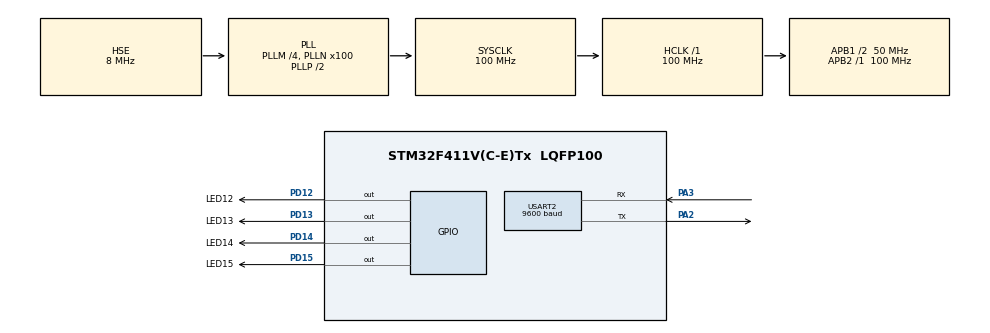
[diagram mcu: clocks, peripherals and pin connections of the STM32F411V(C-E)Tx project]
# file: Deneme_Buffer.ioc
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Mcu.Family=STM32F4
Mcu.Name=STM32F411V(C-E)Tx
Mcu.Package=LQFP100
NVIC.PriorityGroup=NVIC_PRIORITYGROUP_0
PA2.Mode=Asynchronous
PA2.Signal=USART2_TX
PA3.Mode=Asynchronous
PA3.Signal=USART2_RX
PD12.GPIO_Label=LED12
PD12.Signal=GPIO_Output
PD13.GPIO_Label=LED13
PD13.Signal=GPIO_Output
PD14.GPIO_Label=LED14
PD14.Signal=GPIO_Output
PD15.GPIO_Label=LED15
PD15.Signal=GPIO_Output
PH0\ -\ OSC_IN.Mode=HSE-External-Oscillator
PH0\ -\ OSC_IN.Signal=RCC_OSC_IN
PH1\ -\ OSC_OUT.Mode=HSE-External-Oscillator
PH1\ -\ OSC_OUT.Signal=RCC_OSC_OUT
ProjectManager.HeapSize=0x200
ProjectManager.StackSize=0x400
ProjectManager.TargetToolchain=STM32CubeIDE
RCC.48MHZClocksFreq_Value=25000000
RCC.AHBFreq_Value=100000000
RCC.APB1CLKDivider=RCC_HCLK_DIV2
RCC.APB1Freq_Value=50000000
RCC.APB1TimFreq_Value=100000000
RCC.APB2Freq_Value=100000000
RCC.APB2TimFreq_Value=100000000
RCC.CortexFreq_Value=100000000
RCC.HCLKFreq_Value=100000000
RCC.HSE_VALUE=8000000
RCC.HSI_VALUE=16000000
RCC.LSE_VALUE=32768
RCC.PLLI2SM=5
RCC.PLLI2SN=200
RCC.PLLM=4
RCC.PLLN=100
RCC.PLLQ=8
RCC.PLLSourceVirtual=RCC_PLLSOURCE_HSE
RCC.SYSCLKFreq_VALUE=100000000
RCC.SYSCLKSource=RCC_SYSCLKSOURCE_PLLCLK
RCC.VCOOutputFreq_Value=200000000
USART2.BaudRate=9600
USART2.VirtualMode=VM_ASYNC
board=STM32F411E-DISCO

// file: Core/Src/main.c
/* USER CODE BEGIN Header */
/**
  ******************************************************************************
  * @file           : main.c
  * @brief          : Main program body
  ******************************************************************************
  * @attention
  *
  * Copyright (c) 2024 STMicroelectronics.
  * All rights reserved.
  *
  * This software is licensed under terms that can be found in the LICENSE file
  * in the root directory of this software component.
  * If no LICENSE file comes with this software, it is provided AS-IS.
  *
  ******************************************************************************
  */

#include "stm32f4xx_hal.h"

/* USER CODE END Header */
#include "main.h"

UART_HandleTypeDef huart2;

/* USER CODE BEGIN PV */

#define RxBufferSize 10
uint16_t RxBuffer[RxBufferSize];
uint32_t data_Rx = 0;
uint32_t rx_data = 0;
uint32_t temp_data = 0;
uint8_t buffer_size = 0;

#define BUFFER_SIZE 256
typedef struct UART_Buffer_Type{
	uint32_t buffer[BUFFER_SIZE];
	uint32_t head_pointer;
	uint32_t tail_pointer;
}UART_Buffer_t;

volatile UART_Buffer_t UART_BufferRX;
volatile UART_Buffer_t UART_BufferTX;

uint32_t deneme_Tx[10];
uint8_t RXNE_value = 0;

/* USER CODE END PV */

void SystemClock_Config(void);
static void MX_GPIO_Init(void);
static void MX_USART2_UART_Init(void);

int main(void)
{

  /* MCU Configuration--------------------------------------------------------*/

  /* Reset of all peripherals, Initializes the Flash interface and the Systick. */
  HAL_Init();

  /* Configure the system clock */
  SystemClock_Config();

  /* Initialize all configured peripherals */
  MX_GPIO_Init();
  MX_USART2_UART_Init();
  /* USER CODE BEGIN 2 */

  //USART2->CR1 |= USART_CR1_RXNEIE;

    //SET_BIT(USART2->CR1, USART_CR1_TXEIE);

  /* 4- Enable UART Receive Data Register Not Empty */
   SET_BIT(USART2->CR1, USART_CR1_RXNEIE);

   /* 5 - Enable UART Interrupt in NVIC */

	HAL_NVIC_SetPriority(USART2_IRQn, 15, 15);
	HAL_NVIC_EnableIRQ(USART2_IRQn);

	/* USER CODE END 2 */

	/* Infinite loop */
	/* USER CODE BEGIN WHILE */
	while (1) {

		HAL_GPIO_TogglePin(LED12_GPIO_Port, LED12_Pin);
		HAL_Delay(1000);

		/* USER CODE END WHILE */

		/* USER CODE BEGIN 3 */
		//deneme_Tx = USART2->DR;
		/*RXNE_value = USART2->SR & USART_SR_RXNE;
		 if (RXNE_value == 32) {
		 HAL_GPIO_TogglePin(LED13_GPIO_Port, LED13_Pin);
		 time1();
		 }*/
		while (USART2->SR & USART_SR_RXNE) {
			HAL_GPIO_TogglePin(LED13_GPIO_Port, LED13_Pin);
			time1();
		}
		//HAL_GPIO_TogglePin(LED13_GPIO_Port,LED13_Pin);
		/*HAL_GPIO_WritePin(LED15_GPIO_Port, LED15_Pin, GPIO_PIN_SET);
		 HAL_Delay(500);
		 HAL_GPIO_WritePin(LED15_GPIO_Port, LED15_Pin, GPIO_PIN_RESET);
		 HAL_Delay(500);*/
		// for(uint16_t i=0; i<50; i++){
		//RxBuffer[i]='A';
		// }
		//data_Rx = USART2->DR;
		 //HAL_Delay(100);
		/*RXNE_value = USART2->SR & USART_SR_RXNE;
		if (RXNE_value == 32) {
			HAL_GPIO_WritePin(LED15_GPIO_Port, LED15_Pin, GPIO_PIN_RESET);
			//HAL_GPIO_WritePin(LED14_GPIO_Port, LED14_Pin, GPIO_PIN_SET);
			//deneme_Tx = USART2->DR;
			//HAL_Delay(100);
			while(USART2->SR & USART_SR_RXNE){
				HAL_GPIO_WritePin(LED13_GPIO_Port,LED13_Pin, GPIO_PIN_SET);

				//USART2->DR = 'K';
				//HAL_Delay(100);
				//deneme_Tx = USART2->DR;

				//USART2->SR &=~(USART_SR_RXNE);

				//USART2->CR1 |= USART_CR1_RXNEIE;

			}

			//HAL_GPIO_WritePin(LED12_GPIO_Port,LED12_Pin, GPIO_PIN_SET);

			//deneme_Tx = USART2->DR;
		} else if (RXNE_value == 0) {
			HAL_GPIO_WritePin(LED15_GPIO_Port, LED15_Pin, GPIO_PIN_SET);
			//HAL_GPIO_WritePin(LED12_GPIO_Port,LED12_Pin, GPIO_PIN_RESET);
			//HAL_GPIO_WritePin(LED13_GPIO_Port,LED13_Pin, GPIO_PIN_RESET);
			//HAL_GPIO_WritePin(LED14_GPIO_Port, LED14_Pin, GPIO_PIN_RESET);
			//HAL_Delay(100);
		}*/
	}
  /* USER CODE END 3 */
}

void SystemClock_Config(void)
{
  RCC_OscInitTypeDef RCC_OscInitStruct = {0};
  RCC_ClkInitTypeDef RCC_ClkInitStruct = {0};

  /** Configure the main internal regulator output voltage
  */
  __HAL_RCC_PWR_CLK_ENABLE();
  __HAL_PWR_VOLTAGESCALING_CONFIG(PWR_REGULATOR_VOLTAGE_SCALE1);

  /** Initializes the RCC Oscillators according to the specified parameters
  * in the RCC_OscInitTypeDef structure.
  */
  RCC_OscInitStruct.OscillatorType = RCC_OSCILLATORTYPE_HSE;
  RCC_OscInitStruct.HSEState = RCC_HSE_ON;
  RCC_OscInitStruct.PLL.PLLState = RCC_PLL_ON;
  RCC_OscInitStruct.PLL.PLLSource = RCC_PLLSOURCE_HSE;
  RCC_OscInitStruct.PLL.PLLM = 4;
  RCC_OscInitStruct.PLL.PLLN = 100;
  RCC_OscInitStruct.PLL.PLLP = RCC_PLLP_DIV2;
  RCC_OscInitStruct.PLL.PLLQ = 8;
  if (HAL_RCC_OscConfig(&RCC_OscInitStruct) != HAL_OK)
  {
    Error_Handler();
  }

  /** Initializes the CPU, AHB and APB buses clocks
  */
  RCC_ClkInitStruct.ClockType = RCC_CLOCKTYPE_HCLK|RCC_CLOCKTYPE_SYSCLK
                              |RCC_CLOCKTYPE_PCLK1|RCC_CLOCKTYPE_PCLK2;
  RCC_ClkInitStruct.SYSCLKSource = RCC_SYSCLKSOURCE_PLLCLK;
  RCC_ClkInitStruct.AHBCLKDivider = RCC_SYSCLK_DIV1;
  RCC_ClkInitStruct.APB1CLKDivider = RCC_HCLK_DIV2;
  RCC_ClkInitStruct.APB2CLKDivider = RCC_HCLK_DIV1;

  if (HAL_RCC_ClockConfig(&RCC_ClkInitStruct, FLASH_LATENCY_3) != HAL_OK)
  {
    Error_Handler();
  }
}

static void MX_USART2_UART_Init(void)
{

  huart2.Instance = USART2;
  huart2.Init.BaudRate = 9600;
  huart2.Init.WordLength = UART_WORDLENGTH_8B;
  huart2.Init.StopBits = UART_STOPBITS_1;
  huart2.Init.Parity = UART_PARITY_NONE;
  huart2.Init.Mode = UART_MODE_TX_RX;
  huart2.Init.HwFlowCtl = UART_HWCONTROL_NONE;
  huart2.Init.OverSampling = UART_OVERSAMPLING_16;
  if (HAL_UART_Init(&huart2) != HAL_OK)
  {
    Error_Handler();
  }

}

static void MX_GPIO_Init(void)
{
  GPIO_InitTypeDef GPIO_InitStruct = {0};

  /* GPIO Ports Clock Enable */
  __HAL_RCC_GPIOH_CLK_ENABLE();
  __HAL_RCC_GPIOA_CLK_ENABLE();
  __HAL_RCC_GPIOD_CLK_ENABLE();

  /*Configure GPIO pin Output Level */
  HAL_GPIO_WritePin(GPIOD, LED12_Pin|LED13_Pin|LED14_Pin|LED15_Pin, GPIO_PIN_RESET);

  /*Configure GPIO pins : LED12_Pin LED13_Pin LED14_Pin LED15_Pin */
  GPIO_InitStruct.Pin = LED12_Pin|LED13_Pin|LED14_Pin|LED15_Pin;
  GPIO_InitStruct.Mode = GPIO_MODE_OUTPUT_PP;
  GPIO_InitStruct.Pull = GPIO_NOPULL;
  GPIO_InitStruct.Speed = GPIO_SPEED_FREQ_LOW;
  HAL_GPIO_Init(GPIOD, &GPIO_InitStruct);

}

/* USER CODE BEGIN 4 */

void USART2_IRQHandler(void) {

	uint32_t isrflags = USART2->SR;
	uint32_t control_reg1 = USART2->CR1;

	/* UART in mode Receiver */
	if (((isrflags & USART_SR_RXNE) != RESET)
			&& ((control_reg1 & USART_CR1_RXNEIE) != RESET)) {
		if (buffer_size <= 3) {
			time1();
			deneme_Tx[buffer_size] = USART2->DR;
			HAL_GPIO_TogglePin(LED14_GPIO_Port, LED14_Pin);

			buffer_size++;
			return;
		} else {
			HAL_GPIO_TogglePin(LED15_GPIO_Port, LED15_Pin);
			SET_BIT(USART2->CR1, USART_CR1_TXEIE);
			time2();
			//temp_data = USART2->DR;
			USART2->SR &= ~(USART_SR_RXNE);
			return;
		}

	}
	//UART in mode Transmitter
	if (((isrflags & USART_SR_TXE) != RESET)
			&& ((control_reg1 & USART_CR1_TXEIE) != RESET)) {
		//USART2->DR = 'K';
		for(int i=0; i<=3; i++){
			USART2->DR=deneme_Tx[i];
			time1();
		}
		HAL_GPIO_TogglePin(LED14_GPIO_Port, LED14_Pin);
		USART2->CR1 &=~(USART_CR1_TXEIE);
		time1();
		USART2->SR |=(USART_SR_RXNE);
		buffer_size = 0;
		time1();
		return;
	}
}

void time1(void) {
	for (int var = 0; var < 50000; ++var) {

	}
}

void time2(void) {
	for (int var = 0; var < 5000000; ++var) {

	}
}

/* USER CODE END 4 */

void Error_Handler(void)
{
  __disable_irq();
  while (1)
  {
  }
}
